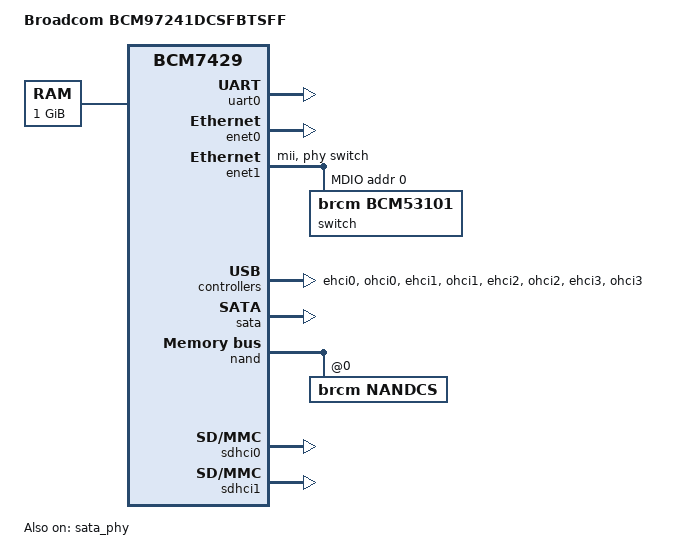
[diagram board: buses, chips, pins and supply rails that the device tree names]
/dts-v1/;

/include/ "bcm7429.dtsi"

/ {
	compatible = "brcm,bcm97241dcsfbtsff", "brcm,bcm7241", "brcm,bcm7429";
	model = "Broadcom BCM97241DCSFBTSFF";

	memory@0 {
		device_type = "memory";
		reg = <0x00000000 0x10000000>,
		      <0x20000000 0x30000000>;
	};

	chosen {
		bootargs = "console=ttyS0,115200 earlyprintk";
		stdout-path = &uart0;
	};
};

&uart0 {
	status = "okay";
};

/*
&uart1 {
	status = "okay";
	pinctrl-names = "default";
	pinctrl-0 = <&uart1_pins>;
};
*/

/*
&uart2 {
	status = "okay";
	pinctrl-names = "default";
	pinctrl-0 = <&uart2_pins>;
};
*/

&enet0 {
	status = "okay";
};

&enet1 {
	status = "okay";
	phy-mode = "mii";
	phy-handle = <&switch>;

	mdio@e14 {
		switch: phy@0 {
			compatible = "brcm,bcm53101", "ethernet-phy-ieee802.3-c22";
			reg = <0>;
		};
	};
};

&ehci0 {
	status = "okay";
};

&ohci0 {
	status = "okay";
};

&ehci1 {
	status = "okay";
};

&ohci1 {
	status = "okay";
};

&ehci2 {
	status = "okay";
};

&ohci2 {
	status = "okay";
};

&ehci3 {
	status = "okay";
};

&ohci3 {
	status = "okay";
};

&sata {
	status = "okay";
};

&sata_phy {
	status = "okay";
};

&nand {
	status = "okay";

	nandcs@0 {
		#size-cells = <0x2>;
		#address-cells = <0x2>;
		compatible = "brcm,nandcs";
		reg = <0>;
		nand-on-flash-bbt;

		nand-ecc-strength = <4>;
		nand-ecc-step-size = <512>;

		rootfs@0 {
			reg = <0x0 0x0 0x0 0x0>;
		};

		kernel@1 {
		        reg = <0x0 0x0 0x0 0x0>;
		};

		flash@0 {
			reg = <0x0 0x0 0x1 0x0>;
		};
	};
};

&sdhci0 {
	status = "okay";

	pinctrl-names = "default";
	pinctrl-0 = <&sdio0_core_pins>;
};

&sdhci1 {
	status = "okay";

	pinctrl-names = "default";
	pinctrl-0 = <&hif_emmc_pins>;
};

&brcm_pmx_general {
	status = "okay";
	pinctrl-names = "default";
	pinctrl-0 = <&genet_mii_mac_select>;

	genet_mii_mac_select: genet_mii_mac_select {
		pinctrl-single,bits = <
			0x00 0x00000004 0x00000004 /* 1 <- mii_genet_mac_select */
		>;
	};
};

&brcm_pmx_core {
	status = "okay";
	pinctrl-names = "default";
	pinctrl-0 = <&genet_1_mii_pins>, <&moca_bsc_m3_pins>;

	uart1_pins: pinmux_uart1_pins {
		pinctrl-single,bits = <
			0x2c 0x01000000 0x0f000000 /* gpio_094 <- UART_TX1 */
			0x2c 0x10000000 0xf0000000 /* gpio_095 <- UART_RX1 */
		>;
	};

	uart2_pins: pinmux_uart2_pins {
		pinctrl-single,bits = <
			0x30 0x00000001 0x0000000f /* gpio_096 <- UART_TX2 */
			0x30 0x00000010 0x000000f0 /* gpio_097 <- UART_RX2 */
		>;
	};

	sdio0_core_pins: pinmux_sdio0_pins {
		pinctrl-single,bits = <
			0x38 0x00100000 0x00f00000 /* gpio_122 <- SDIO0_CMD */
			0x38 0x01000000 0x0f000000 /* gpio_123 <- SDIO0_WPROT */
			0x38 0x10000000 0xf0000000 /* gpio_124 <- SDIO0_PWR0 */
			0x3c 0x00000001 0x0000000f /* gpio_125 <- SDIO0_CLK */
			0x3c 0x00000010 0x000000f0 /* gpio_126 <- SDIO0_DATA0 */
			0x3c 0x00000100 0x00000f00 /* gpio_127 <- SDIO0_DATA1 */
			0x3c 0x00001000 0x0000f000 /* gpio_128 <- SDIO0_DATA2 */
			0x3c 0x00010000 0x000f0000 /* gpio_129 <- SDIO0_DATA3 */
			0x3c 0x00100000 0x00f00000 /* gpio_130 <- SDIO0_PRES */
			0x3c 0x01000000 0x0f000000 /* gpio_131 <- SDIO0_LED */

			0x6c 0x00008000 0x0000c000 /* gpio_122 <- SDIO0_CMD */
			0x6c 0x00020000 0x00030000 /* gpio_123 <- SDIO0_WPROT */
			0x6c 0x00080000 0x000c0000 /* gpio_124 <- SDIO0_PWR0 */
			0x6c 0x00200000 0x00300000 /* gpio_125 <- SDIO0_CLK */
			0x6c 0x00800000 0x00c00000 /* gpio_126 <- SDIO0_DAT0 */
			0x6c 0x02000000 0x03000000 /* gpio_127 <- SDIO0_DAT1 */
			0x6c 0x08000000 0x0c000000 /* gpio_128 <- SDIO0_DAT2 */
			0x6c 0x20000000 0x30000000 /* gpio_129 <- SDIO0_DAT3 */
			0x70 0x00000002 0x00000003 /* gpio_130 <- SDIO0_PRES */
			0x70 0x00000008 0x0000000c /* gpio_131 <- SDIO0_LED */
		>;
	};

	genet_1_mii_pins: genet_mii_pins {
		pinctrl-single,bits = <
			0x3c 0x10000000 0xf0000000 /* gpio_132 <- MII_RX_DV */
			0x40 0x00000001 0x0000000f /* gpio_133 <- MII_RX_ER */
			0x40 0x00000010 0x000000f0 /* gpio_134 <- MII_RX_CLK */
			0x40 0x00000100 0x00000f00 /* gpio_135 <- MII_COL */
			0x40 0x00001000 0x0000f000 /* gpio_136 <- MII_CRS */
			0x40 0x00010000 0x000f0000 /* gpio_137 <- MII_MDIO */
			0x40 0x00100000 0x00f00000 /* gpio_138 <- MII_TX_CLK */
			0x40 0x01000000 0x0f000000 /* gpiO_139 <- MII_RXD_03 */
			0x40 0x10000000 0xf0000000 /* gpiO_140 <- MII_RXD_02 */
			0x44 0x00000001 0x0000000f /* gpio_141 <- MII_RXD_01 */
			0x44 0x00000010 0x000000f0 /* gpio_142 <- MII_RXD_00 */
			0x44 0x00000100 0x00000f00 /* gpio_143 <- MII_TXD_03 */
			0x44 0x00001000 0x0000f000 /* gpio_144 <- MII_TXD_02 */
			0x44 0x00010000 0x000f0000 /* gpio_145 <- MII_TXD_01 */
			0x44 0x00100000 0x00f00000 /* gpio_146 <- MII_TXD_00 */
			0x44 0x01000000 0x0f000000 /* gpio_147 <- MII_TX_EN */
			0x44 0x10000000 0xf0000000 /* gpio_148 <- MII_TX_ER */
			0x48 0x00000001 0x0000000f /* gpio_149 <- MII_MDC */
		>;
	};

	moca_bsc_m3_pins: pinmux_moca_bsc_m3_pins {
		pinctrl-single,bits = <
			0x48 0x00000010 0x000000f0 /* sgpio_00 <- BSC_M3_SCL */
			0x48 0x00000100 0x00000f00 /* sgpio_01 <- BSC_M3_SDA */
		>;
	};
};

&brcm_pmx_hif_emmc_pinctrl {
	status = "okay";

	hif_emmc_pins: pinmux_all_pins {
		pinctrl-single,bits = <
			0x0 0x00000001 0x00000003 /* HIF_TOP_CTRL.EMMC_PIN_SEL*/
		>;
	};
};
